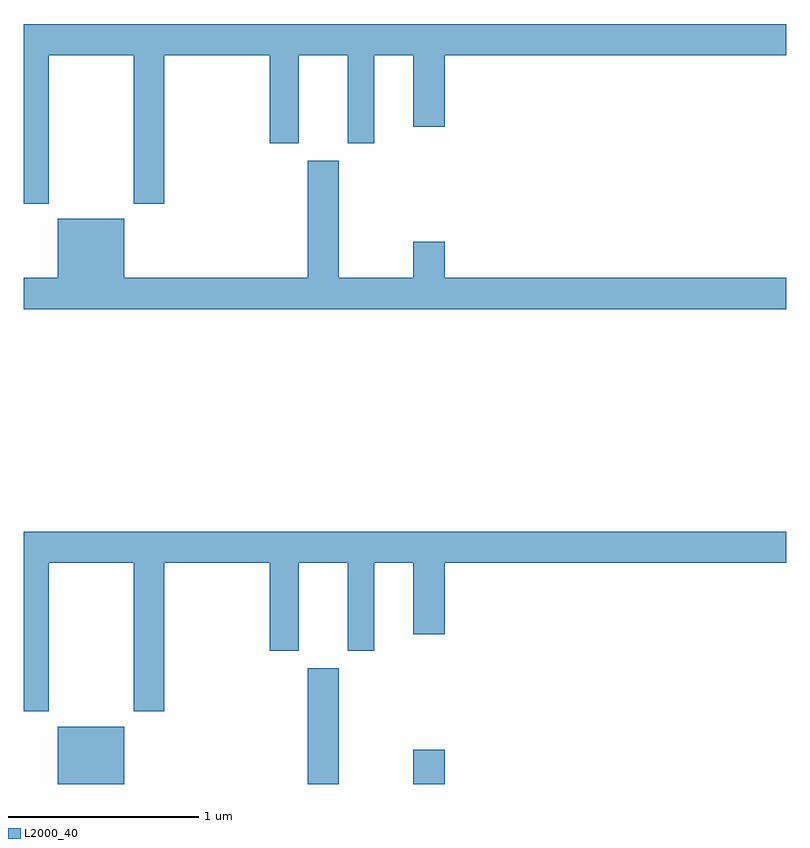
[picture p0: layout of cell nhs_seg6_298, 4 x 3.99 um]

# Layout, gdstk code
import gdstk
lib = gdstk.Library(unit=1e-6, precision=1e-09)
def R(c, l, rs):  # rectangles x0, y0, x1, y1
    for r in rs: c.add(gdstk.rectangle(r[:2], r[2:], *l))
def P(c, l, *ps):  # polygons
    for p in ps: c.add(gdstk.Polygon(p, *l))
L2000_40 = (2000, 40)

nhs_seg6_298 = lib.new_cell('nhs_seg6_298')
R(nhs_seg6_298, L2000_40, [(127.178,955.5,127.528,955.801), (128.489,955.5,128.653,956.107), (129.044,955.5,129.208,955.681)])
P(nhs_seg6_298, L2000_40, [(127.131,959.324),(127.576,959.324),(127.576,958.545),(127.736,958.545),(127.736,959.324),(128.291,959.324),(128.291,958.863),(128.443,958.863),(128.443,959.324),(128.699,959.324),(128.699,958.863),(128.839,958.863),(128.839,959.324),(129.044,959.324),(129.044,958.95),(129.208,958.95),(129.208,959.324),(131,959.324),(131,959.488),(127,959.488),(127,958.545),(127.131,958.545)],
  [(131,958.156),(129.208,958.156),(129.208,958.345),(129.044,958.345),(129.044,958.156),(128.653,958.156),(128.653,958.771),(128.489,958.771),(128.489,958.156),(127.528,958.156),(127.528,958.465),(127.178,958.465),(127.178,958.156),(127,958.156),(127,957.992),(131,957.992)],
  [(127.131,956.66),(127.576,956.66),(127.576,955.881),(127.736,955.881),(127.736,956.66),(128.291,956.66),(128.291,956.199),(128.443,956.199),(128.443,956.66),(128.699,956.66),(128.699,956.199),(128.839,956.199),(128.839,956.66),(129.044,956.66),(129.044,956.286),(129.208,956.286),(129.208,956.66),(131,956.66),(131,956.824),(127,956.824),(127,955.881),(127.131,955.881)])

lib.write_gds('nhs_seg6_298.gds')
